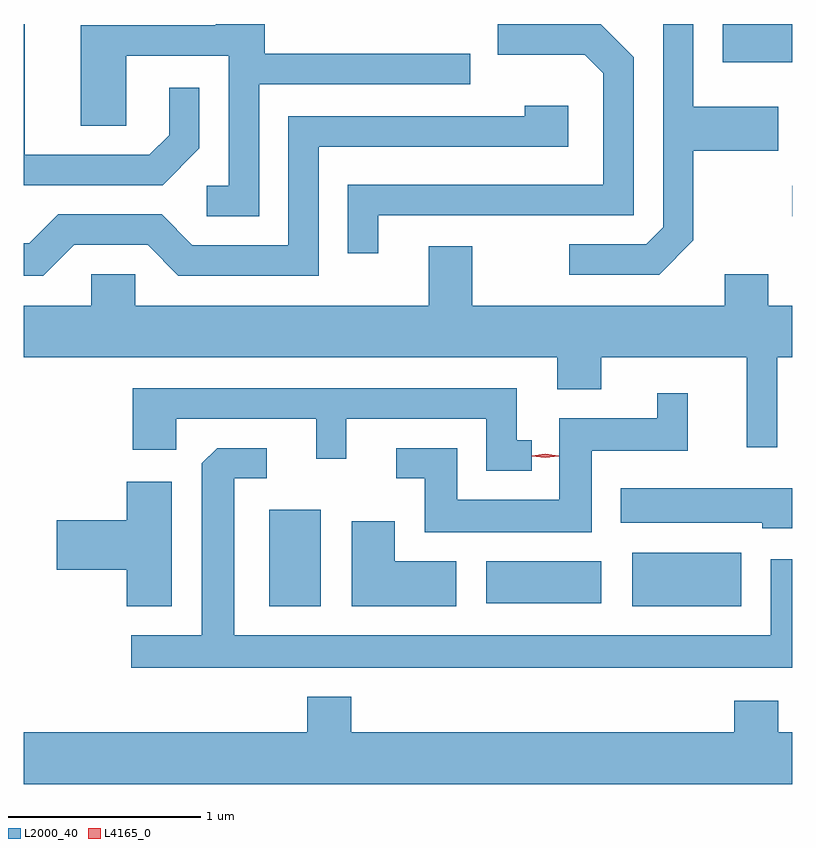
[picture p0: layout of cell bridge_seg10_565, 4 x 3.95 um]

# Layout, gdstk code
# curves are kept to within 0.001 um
import gdstk
lib = gdstk.Library(unit=1e-6, precision=1e-09)
def R(c, l, rs):  # rectangles x0, y0, x1, y1
    for r in rs: c.add(gdstk.rectangle(r[:2], r[2:], *l))
def P(c, l, *ps):  # polygons
    for p in ps: c.add(gdstk.Polygon(p, *l))
L2000_40 = (2000, 40)
L4165_0 = (4165, 0)

bridge_seg10_565 = lib.new_cell('bridge_seg10_565')
R(bridge_seg10_565, L2000_40, [(638.941,2161.461,639.209,2161.964), (640.831,2161.461,641.399,2161.739), (640.071,2161.476,640.669,2161.694), (641.663,2163.491,641.664,2163.649), (641.301,2164.291,641.664,2164.49)])
P(bridge_seg10_565, L2000_40, [(638.579,2163.844),(638.579,2164.158),(638.421,2164.158),(638.421,2163.912),(638.319,2163.809),(637.669,2163.809),(637.669,2164.49),(637.664,2164.49),(637.664,2163.651),(638.387,2163.651)],
  [(641.149,2163.364),(641.149,2163.831),(641.589,2163.831),(641.589,2164.059),(641.149,2164.059),(641.149,2164.49),(640.991,2164.49),(640.991,2163.432),(640.904,2163.344),(640.503,2163.344),(640.503,2163.186),(640.972,2163.186)],
  [(639.509,2163.496),(640.839,2163.496),(640.839,2164.317),(640.667,2164.489),(640.131,2164.49),(640.131,2164.331),(640.584,2164.331),(640.681,2164.234),(640.681,2163.654),(639.351,2163.654),(639.351,2163.298),(639.509,2163.298)],
  [(638.889,2164.176),(639.988,2164.176),(639.988,2164.334),(638.919,2164.334),(638.919,2164.489),(638.665,2164.489),(638.665,2164.484),(637.961,2164.484),(637.961,2163.961),(638.199,2163.961),(638.199,2164.326),(638.731,2164.326),(638.731,2163.649),(638.618,2163.649),(638.618,2163.491),(638.889,2163.491)],
  [(637.927,2163.341),(638.309,2163.341),(638.469,2163.181),(639.199,2163.181),(639.199,2163.851),(640.499,2163.851),(640.499,2164.064),(640.271,2164.064),(640.271,2164.009),(639.041,2164.009),(639.041,2163.339),(638.542,2163.339),(638.382,2163.499),(637.844,2163.499),(637.694,2163.349),(637.664,2163.349),(637.664,2163.181),(637.767,2163.181)],
  [(640.441,2162.591),(640.669,2162.591),(640.669,2162.756),(641.426,2162.756),(641.426,2162.288),(641.584,2162.288),(641.584,2162.756),(641.664,2162.756),(641.664,2163.024),(641.539,2163.024),(641.539,2163.189),(641.311,2163.189),(641.311,2163.024),(639.999,2163.024),(639.999,2163.334),(639.771,2163.334),(639.771,2163.024),(638.244,2163.024),(638.244,2163.189),(638.016,2163.189),(638.016,2163.024),(637.664,2163.024),(637.664,2162.756),(640.441,2162.756)],
  [(640.308,2162.324),(640.229,2162.324),(640.229,2162.594),(638.231,2162.594),(638.231,2162.276),(638.459,2162.276),(638.459,2162.436),(639.186,2162.436),(639.186,2162.228),(639.344,2162.228),(639.344,2162.436),(640.071,2162.436),(640.071,2162.166),(640.308,2162.166)],
  [(640.619,2162.271),(641.119,2162.271),(641.119,2162.568),(640.961,2162.568),(640.961,2162.439),(640.451,2162.439),(640.451,2162.014),(639.919,2162.014),(639.919,2162.284),(639.603,2162.284),(639.603,2162.126),(639.751,2162.126),(639.751,2161.846),(640.619,2161.846)],
  [(641.664,2161.704),(641.551,2161.704),(641.551,2161.309),(638.759,2161.309),(638.759,2162.126),(638.928,2162.126),(638.928,2162.284),(638.672,2162.284),(638.591,2162.204),(638.591,2161.309),(638.223,2161.309),(638.223,2161.141),(641.664,2161.141)],
  [(638.434,2162.109),(638.201,2162.109),(638.201,2161.909),(637.836,2161.909),(637.836,2161.651),(638.201,2161.651),(638.201,2161.461),(638.434,2161.461)],
  [(641.664,2162.074),(640.771,2162.074),(640.771,2161.896),(641.506,2161.896),(641.506,2161.866),(641.664,2161.866)],
  [(639.914,2161.694),(639.594,2161.694),(639.594,2161.904),(639.371,2161.904),(639.371,2161.461),(639.914,2161.461)],
  [(641.664,2160.804),(641.589,2160.804),(641.589,2160.969),(641.361,2160.969),(641.361,2160.804),(639.369,2160.804),(639.369,2160.989),(639.141,2160.989),(639.141,2160.804),(637.664,2160.804),(637.664,2160.536),(641.664,2160.536)])
P(bridge_seg10_565, L4165_0, [(640.378,2162.233),(640.309,2162.242),(640.309,2162.243),(640.309,2162.244),(640.378,2162.253),(640.448,2162.244),(640.448,2162.243),(640.448,2162.242)])

lib.write_gds('bridge_seg10_565.gds')
